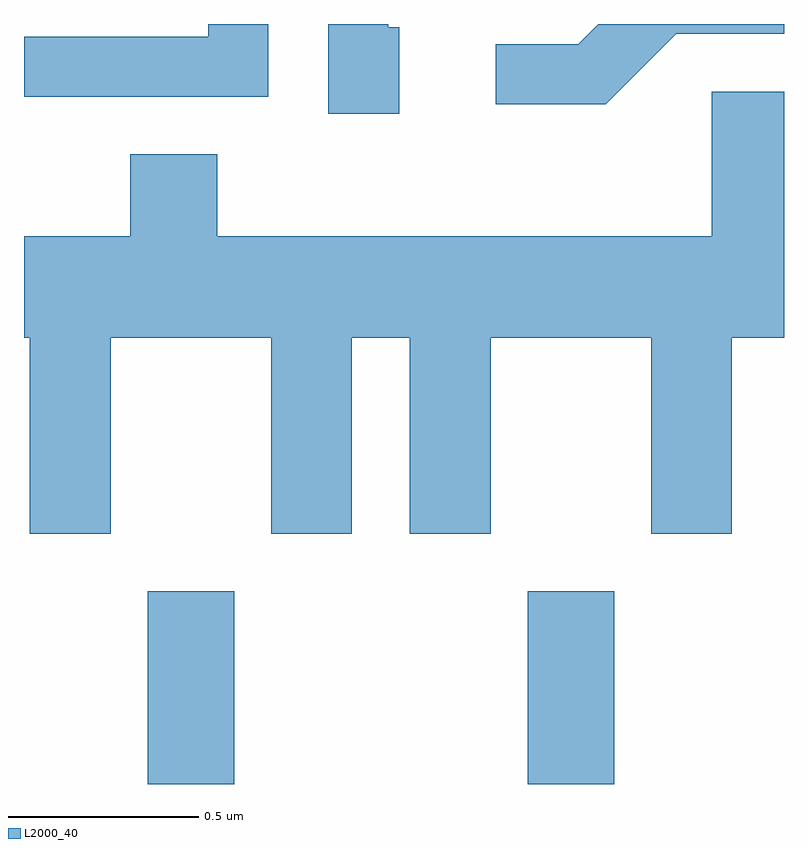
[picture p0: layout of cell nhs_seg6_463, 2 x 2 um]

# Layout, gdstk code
import gdstk
lib = gdstk.Library(unit=1e-6, precision=1e-09)
def R(c, l, rs):  # rectangles x0, y0, x1, y1
    for r in rs: c.add(gdstk.rectangle(r[:2], r[2:], *l))
def P(c, l, *ps):  # polygons
    for p in ps: c.add(gdstk.Polygon(p, *l))
L2000_40 = (2000, 40)

nhs_seg6_463 = lib.new_cell('nhs_seg6_463')
R(nhs_seg6_463, L2000_40, [(188.936,1582.162,189.164,1582.669), (189.936,1582.162,190.164,1582.669)])
P(nhs_seg6_463, L2000_40, [(189.599,1584.154),(189.569,1584.154),(189.569,1584.162),(189.411,1584.162),(189.411,1583.926),(189.599,1583.926)],
  [(189.254,1584.162),(189.096,1584.162),(189.096,1584.129),(188.611,1584.129),(188.611,1583.971),(189.254,1583.971)],
  [(190.327,1584.136),(190.611,1584.136),(190.611,1584.162),(190.122,1584.162),(190.069,1584.109),(189.853,1584.109),(189.853,1583.951),(190.142,1583.951)],
  [(188.839,1583.336),(189.261,1583.336),(189.261,1582.821),(189.474,1582.821),(189.474,1583.336),(189.626,1583.336),(189.626,1582.821),(189.839,1582.821),(189.839,1583.336),(190.261,1583.336),(190.261,1582.821),(190.474,1582.821),(190.474,1583.336),(190.611,1583.336),(190.611,1583.984),(190.421,1583.984),(190.421,1583.604),(189.119,1583.604),(189.119,1583.819),(188.891,1583.819),(188.891,1583.604),(188.611,1583.604),(188.611,1583.336),(188.626,1583.336),(188.626,1582.821),(188.839,1582.821)])

lib.write_gds('nhs_seg6_463.gds')
